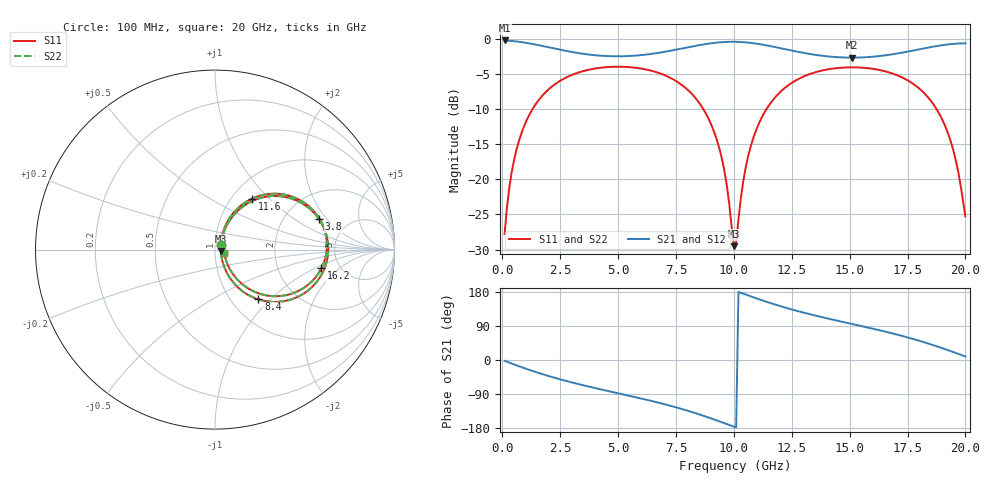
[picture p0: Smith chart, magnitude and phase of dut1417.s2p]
! Touchstone file exported from HFSS 2026.1.0
!  File:  C:/ffzhzh/LocalFiles/Ansys_Project_Files/temp_train_TSV_RDL_1417_1783353858_48288.aedt
!  Generated:  12:18:04 AM Jul  7, 2026
!  Design:  TSV_RDL
!  Project:  temp_train_TSV_RDL_1417_1783353858_48288
! Variables:
!  h_bsmrdl = 2.21um
!  h_ox = 20um
!  h_rdl = 5um
!  h_sub = 65.02um
!  h_tmrdl = 5.72um
!  h_tsv = 65.02um
!  h_via = 3um
!  l_bsmrdl = 703.29um
!  l_sub = 6148.61um
!  l_tmrdl = 882.34um
!  m_sub = 200um
!  pitch = 56.94um
!  r_tsv = 11.24um
!  s_tmrdl = 10um
!  w_bsmrdl = 21.34um
!  w_sub = 500um
!  w_tmrdl = 15.12um
!  x_tsv_center1 = 889.9um
!  x_tsv_center2 = 1614.53um
!  x_tsv_center3 = 2511.99um
!  x_tsv_center4 = 3236.62um
!  x_tsv_center5 = 4134.08um
!  x_tsv_center6 = 4858.71um
# GHz S MA R 50.000000
! Terminal data exported
! Port[1] = TM_RDL1_1_T1
! Port[2] = TM_RDL5_1_T1
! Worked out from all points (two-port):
!   200 points, 100 MHz to 20 GHz, reference 50 ohm
!   highest |S21| = -0.27 dB at 100 MHz (marker M1); lowest = -2.7 dB at 15.1 GHz (marker M2)
!   |S21| within 3 dB of the highest: start of sweep to end of sweep
!   lowest |S11| = -29.5 dB at 10 GHz (marker M3), VSWR 1.07, Z = 53.4 - j0.832 ohm
!   |S11| at or under -10 dB: start of sweep to 1.313 GHz; 8.675 GHz to 11.42 GHz (2.742 GHz wide, 27.3 % of centre); 18.75 GHz to end of sweep
!   |S22| runs from -29.5 to -4.0 dB; largest |S21 - S12| = 1.5e-14
!   S11 on the Smith chart (normalised r, x): 100 MHz: 1.06, +0.06; 3.8 GHz: 3.08, +1.65; 8.4 GHz: 1.33, -0.85; 11.6 GHz: 1.23, +0.80; 16.2 GHz: 3.60, -1.18; 20 GHz: 1.11, -0.04
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0.1  0.04079 39.7  0.9694 -2.4  0.9694 -2.4  0.04079 39.7
! Gamma 0 0 0 0
! Port Impedance 50 0 50 0
0.5  0.1352 64.2  0.9583 -11.6  0.9583 -11.6  0.1352 64.2
1.1  0.2726 58.1  0.928 -24.6  0.928 -24.6  0.2726 58.1
2.1  0.4499 41.6  0.8594 -44.1  0.8594 -44.1  0.4499 41.6
3.5  0.5876 20.5  0.7785 -66.8  0.7785 -66.8  0.5876 20.5
3.8  0.6036 16.4  0.7673 -71.1  0.7673 -71.1  0.6036 16.4
5.3  0.6292 -3.3  0.7493 -91.8  0.7493 -91.8  0.6292 -3.3
6.8  0.5664 -23.7  0.794 -113.4  0.794 -113.4  0.5664 -23.7
8.4  0.3677 -49.0  0.891 -141.4  0.891 -141.4  0.3677 -48.9
9.4  0.1596 -62.7  0.9406 -162.4  0.9406 -162.4  0.1596 -62.7
9.7  0.08965 -59.9  0.9473 -169.1  0.9473 -169.1  0.0897 -59.8
10  0.03344 -13.5  0.9489 -175.8  0.9489 -175.8  0.03357 -13.4
10.1  0.03575 26.4  0.9483 -178.1  0.9483 -178.1  0.03588 26.3
10.6  0.1416 66.4  0.9367 170.7  0.9367 170.7  0.1416 66.4
11.6  0.3502 54.1  0.8819 149.8  0.8819 149.8  0.3502 54.0
13.4  0.5679 26.4  0.7715 119.0  0.7715 119.0  0.5679 26.4
15.1  0.6243 4.1  0.7318 95.1  0.7318 95.1  0.6243 4.1
16.2  0.6016 -10.0  0.7482 79.8  0.7482 79.8  0.6016 -10.0
16.7  0.5748 -16.8  0.7662 72.5  0.7662 72.5  0.5747 -16.8
18.9  0.2861 -49.4  0.8919 33.4  0.8919 33.4  0.2859 -49.4
19.5  0.1556 -53.5  0.9171 20.5  0.9171 20.5  0.1555 -53.6
20  0.05446 -20.8  0.925 9.3  0.925 9.3  0.05427 -20.8
